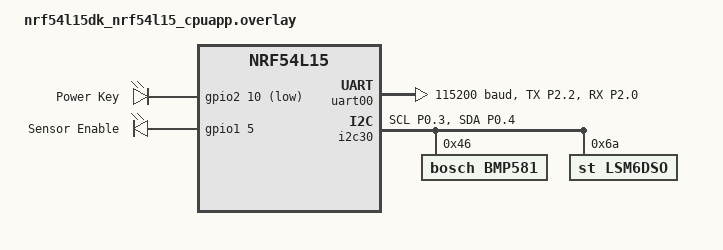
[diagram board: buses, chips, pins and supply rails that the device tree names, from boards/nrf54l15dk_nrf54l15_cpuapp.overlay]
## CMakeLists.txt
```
cmake_minimum_required(VERSION 3.20.0)
set(DTC_OVERLAY_FILE
  ${CMAKE_CURRENT_SOURCE_DIR}/boards/xiao_nrf54l15_nrf54l15_cpuapp.overlay
  CACHE STRING "Devicetree overlay file"
  FORCE
)
find_package(Zephyr REQUIRED HINTS $ENV{ZEPHYR_BASE})
project(bt_test)

target_sources(app PRIVATE src/main.c)
target_sources_ifdef(CONFIG_IMU app PRIVATE src/imu.c)
target_sources_ifdef(CONFIG_SENSOR app PRIVATE src/sensor.c)
```

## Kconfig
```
source "Kconfig.zephyr"

config IMU
    bool "enable my imu"
    default n

config BMP580
    bool "enable my bmp"
    default n
```

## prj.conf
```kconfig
CONFIG_BT=y
CONFIG_LOG=y
CONFIG_GPIO=y
CONFIG_BT_DEVICE_NAME="Test beacon"

CONFIG_I2C=y
CONFIG_SENSOR=y
CONFIG_BMP580=n
CONFIG_IMU=n
```

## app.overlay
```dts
#include <zephyr/dt-bindings/sensor/bmp581.h>
#include <zephyr/dt-bindings/sensor/lsm6dso.h>

/ {
	aliases {
		pressure_sensor = &bmp581;
		imu_sensor = &lsm6dso;
	};
};

&i2c1 {
	status = "okay";

	bmp581: bmp581@46 {
		compatible = "bosch,bmp581";
		reg = <0x46>;
		odr = <BMP581_DT_ODR_50_HZ>;
		press-osr = <BMP581_DT_OVERSAMPLING_8X>;
		temp-osr = <BMP581_DT_OVERSAMPLING_2X>;
		press-iir = <BMP581_DT_IIR_FILTER_COEFF_7>;
		temp-iir = <BMP581_DT_IIR_FILTER_COEFF_3>;
		power-mode = <BMP581_DT_MODE_NORMAL>;
		status = "okay";
	};

	lsm6dso: lsm6dso@6a {
		compatible = "st,lsm6dso";
		reg = <0x6a>;
		accel-range = <LSM6DSO_DT_FS_4G>;
		accel-odr = <LSM6DSO_DT_ODR_104Hz>;
		gyro-range = <LSM6DSO_DT_FS_2000DPS>;
		gyro-odr = <LSM6DSO_DT_ODR_104Hz>;
		status = "okay";
	};
};
```

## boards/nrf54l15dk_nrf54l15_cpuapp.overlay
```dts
// To get started, press Ctrl+Space to bring up the completion menu and view the available nodes.

// You can also use the buttons in the sidebar to perform actions on nodes.
// Actions currently available include:

// * Enabling / disabling the node
// * Adding the bus to a bus
// * Removing the node
// * Connecting ADC channels

// For more help, browse the DeviceTree documentation at https://docs.zephyrproject.org/latest/guides/dts/index.html
// You can also visit the nRF DeviceTree extension documentation at https://docs.nordicsemi.com/bundle/nrf-connect-vscode/page/guides/ncs_configure_app.html#devicetree-support-in-the-extension
&spi00 {
	status = "disabled";
};

&mx25r64 {
	status = "disabled";
};

/ {
	chosen {
		nordic,nus-uart = &uart00;
		zephyr,console = &uart00;
	};
};

&uart00 {
	status = "okay";
	current-speed = <115200>;
	clocks = <&hfpll>;
	compatible = "nordic,nrf-uarte";
	pinctrl-0 = <&uart00_default>;
	pinctrl-1 = <&uart00_sleep>;
	pinctrl-names = "default", "sleep";
};

&pinctrl {
	uart00_default: uart00_default {
		group1 {
			psels = <NRF_PSEL(UART_TX, 2, 2)>;
		};

		group2 {
			psels = <NRF_PSEL(UART_RX, 2, 0)>;
			bias-pull-up;
		};
	};

	uart00_sleep: uart00_sleep {
		group1 {
			psels = <NRF_PSEL(UART_TX, 2, 2)>;
		};
	};
};


/ {
    /* 1. 自定义输出引脚节点 */
    pwr_key_out: pwr-key-out {
        compatible = "gpio-leds";
        pwr_key: pwr_key {
            gpios = <&gpio2 10 GPIO_ACTIVE_LOW>;
            label = "Power Key";
        };
        sensor_enable: sensor_enable {
            gpios = <&gpio1 5 GPIO_ACTIVE_HIGH>;
            label = "Sensor Enable";
        };
    };

    /* 2. 别名 */
    aliases {
        pwr-key-gpio = &pwr_key;
        sensor-enable-gpio = &sensor_enable;
		bmp581 = &bmp581;
		lsm6dso = &lsm6dso;
    };
};

/* 3. 外设配置 */
&uart21 {
    status = "disabled";
};

/* 4. I2C30 保持启用，并将其引脚重映射到 P0.03 和 P0.04 */
&i2c30 {
    status = "okay";
    pinctrl-0 = <&i2c30_default>;
    pinctrl-1 = <&i2c30_sleep>;
    pinctrl-names = "default", "sleep";

    bmp581: bmp581@46 {
        compatible = "bosch,bmp581";
        reg = <0x46>;
        status = "okay";
    };

    lsm6dso: lsm6dso@6a {
        compatible = "st,lsm6dso";
        reg = <0x6a>;
        status = "okay";
    };
};

&pinctrl {
    i2c30_default: i2c30_default {
        group1 {
            psels = <NRF_PSEL(TWIM_SCL, 0, 3)>,
                    <NRF_PSEL(TWIM_SDA, 0, 4)>;
        };
    };

    i2c30_sleep: i2c30_sleep {
        group1 {
            psels = <NRF_PSEL(TWIM_SCL, 0, 3)>,
                    <NRF_PSEL(TWIM_SDA, 0, 4)>;
            low-power-enable;
        };
    };
};
```

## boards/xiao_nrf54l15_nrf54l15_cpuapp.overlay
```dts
#include <zephyr/dt-bindings/input/input-event-codes.h>

/ {
    /* 1. 自定义输出引脚节点 */
    gpio_enable: gpio-enable {
        compatible = "gpio-leds";

        sensorable: sensor_enable {
            gpios = <&gpio1 5 GPIO_ACTIVE_HIGH>;
            label = "Sensor Enable";
        };
    };
    keys: keys {
		compatible = "gpio-keys";

		pwrkey: pwrkey {
			gpios = <&gpio2 10 (GPIO_PULL_UP | GPIO_ACTIVE_LOW)>;
			zephyr,code = <INPUT_KEY_ENTER>;
            label = "PWR KEY";
		};
	};

    /* 2. 别名 */
    aliases {
        pwrkey = &pwrkey;
        sensorsw = &sensorable;
		bmp581 = &bmp581;
		lsm6dso = &lsm6dso;
    };
};

/* 3. 外设配置 */
&uart21 {
    status = "disabled";
};

&uart30 {
    status = "disabled";
};

&spi30 {
    status = "disabled";
};

/* 4. I2C30 保持启用，并将其引脚重映射到 P0.03 和 P0.04 */
&i2c30 {
    status = "okay";
    pinctrl-0 = <&i2c30_default>;
    pinctrl-1 = <&i2c30_sleep>;
    pinctrl-names = "default", "sleep";

    bmp581: bmp581@46 {
        compatible = "bosch,bmp581";
        reg = <0x46>;
        status = "okay";
    };

    lsm6dso: lsm6dso@6a {
        compatible = "st,lsm6dso";
        reg = <0x6a>;
        status = "okay";
    };
};

&pinctrl {
    i2c30_default: i2c30_default {
        group1 {
            psels = <NRF_PSEL(TWIM_SCL, 0, 3)>,
                    <NRF_PSEL(TWIM_SDA, 0, 4)>;
        };
    };

    i2c30_sleep: i2c30_sleep {
        group1 {
            psels = <NRF_PSEL(TWIM_SCL, 0, 3)>,
                    <NRF_PSEL(TWIM_SDA, 0, 4)>;
            low-power-enable;
        };
    };
};
```

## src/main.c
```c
/* main.c - Application main entry point */

/*
 * Copyright (c) 2015-2016 Intel Corporation
 *
 * SPDX-License-Identifier: Apache-2.0
 */

#include <zephyr/types.h>
#include <stddef.h>
#include <zephyr/sys/printk.h>
#include <zephyr/sys/util.h>
#include <zephyr/kernel.h>

#include <zephyr/drivers/gpio.h>

#include <zephyr/bluetooth/bluetooth.h>
#include <zephyr/bluetooth/hci.h>

#include <stdio.h>

// 看视频跟做
#include <zephyr/drivers/i2c.h>

#ifdef CONFIG_BMP580
#include "sensor.h"
#endif
#ifdef CONFIG_IMU
#include "imu.h"
#endif

#define DEVICE_NAME CONFIG_BT_DEVICE_NAME
#define DEVICE_NAME_LEN (sizeof(DEVICE_NAME) - 1)

static const struct bt_le_adv_param *adv_param = BT_LE_ADV_PARAM(
	(BT_LE_ADV_OPT_SCANNABLE | BT_LE_ADV_OPT_USE_IDENTITY),
	80,
	82,
	NULL);

typedef struct adv_mfg_data {
	uint16_t company_code;
	uint8_t filter_1;
	uint8_t filter_2;
	uint8_t filter_3;
	uint8_t count;
	float acc_x;
	float pressure;
} adv_mfg_data_type;

static adv_mfg_data_type adv_mfg_data = {
	.company_code = 0xFFFF,
	.filter_1 = 0xDF,
	.filter_2 = 0xDF,
	.filter_3 = 0xDF,
	.count = 0,
	.acc_x = 9.8f,
	.pressure = 1.01f,
};

static const struct bt_data ad[] = {
	BT_DATA_BYTES(BT_DATA_FLAGS, BT_LE_AD_NO_BREDR),
	BT_DATA(BT_DATA_MANUFACTURER_DATA,
		(unsigned char *)&adv_mfg_data,
		sizeof(adv_mfg_data)),
};

static const struct bt_data sd[] = {
	BT_DATA(BT_DATA_NAME_COMPLETE, DEVICE_NAME, DEVICE_NAME_LEN),
};

#define SLEEP_TIME_MS 1000
#define BUTTON_DEBOUNCE_MS 30

// LED引脚
#define LED0_NODE DT_ALIAS(led0)
static const struct gpio_dt_spec led = GPIO_DT_SPEC_GET(LED0_NODE, gpios);

// 使能引脚
#define SENSOR_NODE DT_ALIAS(sensorsw)
static const struct gpio_dt_spec sensor_enable = GPIO_DT_SPEC_GET(SENSOR_NODE, gpios);

// pwr-key
#define PWR_NODE DT_ALIAS(pwrkey)
static const struct gpio_dt_spec pwr_key = GPIO_DT_SPEC_GET(PWR_NODE, gpios);

// 板载button
#define SW0_NODE	DT_ALIAS(sw0) 
static const struct gpio_dt_spec button = GPIO_DT_SPEC_GET(SW0_NODE, gpios);
static struct gpio_callback button_cb_data;
// static struct gpio_callback key_cb_data;
static uint32_t last_button_press_ms;

// 把中断执行的任务放在另一个队列中执行，不占用中断
void button_work(struct k_work *work)
{
	gpio_pin_toggle_dt(&led);
};
K_WORK_DEFINE(button_wk,button_work);
// 按键中断回调函数
void button_pressed(const struct device *dev, struct gpio_callback *cb, uint32_t pins)
{
	uint32_t now = k_uptime_get_32();

	ARG_UNUSED(dev);
	ARG_UNUSED(cb);
	ARG_UNUSED(pins);

	if ((now - last_button_press_ms) < BUTTON_DEBOUNCE_MS) {
		return;
	}

	last_button_press_ms = now;
	k_work_submit(&button_wk);
}

static int update_adv_payload(uint8_t count, float acc_x, float pressure)
{
	adv_mfg_data.count = count;
	adv_mfg_data.acc_x = acc_x;
	adv_mfg_data.pressure = pressure;

	return bt_le_adv_update_data(ad, ARRAY_SIZE(ad), sd, ARRAY_SIZE(sd));
}

static void bt_ready(int err)
{
	bt_addr_le_t addr;

	err = bt_addr_le_from_str("FF:EE:DD:CC:BB:AA", "random", &addr);
	if (err) {
		printk("Invalid BT address (err %d)\n", err);
	}

	printk("Bluetooth initialized\n");

	err = bt_le_adv_start(adv_param, ad, ARRAY_SIZE(ad), sd, ARRAY_SIZE(sd));
	if (err) {
		printk("Advertising failed to start (err %d)\n", err);
	}
}

int main(void)
{
	int err;
	uint8_t count = 0;
	float acc_x = 9.8f;
	float pressure = 1.01f;

	// 初始化led
	gpio_is_ready_dt(&led);
	gpio_pin_configure_dt(&led, GPIO_OUTPUT_ACTIVE);
	// 初始化使能引脚
	gpio_is_ready_dt(&sensor_enable);
	gpio_pin_configure_dt(&sensor_enable, GPIO_OUTPUT_ACTIVE);
	// 初始化pwr-key
	// device_is_ready(pwr_key.port);
	// gpio_pin_configure_dt(&pwr_key, GPIO_INPUT);
	// gpio_pin_interrupt_configure_dt(&pwr_key, GPIO_INT_EDGE_TO_ACTIVE);		//设置key的中断模式->按下激活时触发
	// gpio_init_callback(&key_cb_data, button_pressed, BIT(pwr_key.pin)); 	
	// gpio_add_callback(pwr_key.port, &key_cb_data);
	// 初始化板载button
	device_is_ready(button.port);
	gpio_pin_configure_dt(&button, GPIO_INPUT | GPIO_PULL_UP);
	gpio_pin_interrupt_configure_dt(&button, GPIO_INT_EDGE_TO_ACTIVE);		//设置button的中断模式->按下激活时触发
	gpio_init_callback(&button_cb_data, button_pressed, BIT(button.pin)); 	
	gpio_add_callback(button.port, &button_cb_data);

	gpio_pin_set_dt(&led, 1);

	#if defined(CONFIG_BMP580) && defined(CONFIG_IMU)
	struct imu_sample imu;
	struct sensor_sample_bundle sensors;
	int ret;
	int imu_ret;
	int64_t next_sensor_log = 0;
	int64_t next_imu_log = 0;
	ret = sensor_init_all();
	if (ret != 0) {
		printk("sensor_init_all failed: %d\n", ret);
		return 0;
	}

	ret = imu_init();
	if (ret != 0) {
		printk("imu_init failed: %d\n", ret);
		return 0;
	}
	#endif

	printk("fusion_combo sample start\n");

	err = bt_enable(bt_ready);
	if (err) {
		printk("Bluetooth init failed (err %d)\n", err);
	}

	while (1) {
		// gpio_pin_toggle_dt(&led);

		// 更新广播数据
		count++;
		acc_x += 1.0f;
		pressure += 1.0f;
		err = update_adv_payload(count, acc_x, pressure);
		if (err) {
			printk("Advertising data update failed (err %d)\n", err);
		}

		#ifdef CONFIG_BMP580
		imu_ret = imu_fetch(&imu);
		if (k_uptime_get() >= next_sensor_log) {
			ret = sensor_fetch_all(&sensors);
			if (ret == 0) {
				if (sensors.pressure_valid || sensors.temperature_valid) {
					printk("baro: pressure=%.3f kPa temp=%.3f C altitude=%.3f m\n",
						sensors.pressure_kpa,
						sensors.temperature_c,
						sensors.altitude_m);
				}
			}

			next_sensor_log = k_uptime_get() + 500;
		}
		#endif

		#ifdef CONFIG_IMU
		if (imu_ret == 0 && k_uptime_get() >= next_imu_log) {
			printk("imu: acc=(%.3f %.3f %.3f) gyro=(%.3f %.3f %.3f)\n",
					imu.accel_mps2[0], imu.accel_mps2[1], imu.accel_mps2[2],
					imu.gyro_rps[0], imu.gyro_rps[1], imu.gyro_rps[2]);
			next_imu_log = k_uptime_get() + 100;
		}
		#endif

		k_msleep(SLEEP_TIME_MS);
	}
}
```

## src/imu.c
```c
#include "imu.h"

#include <errno.h>
#include <string.h>

#include <zephyr/device.h>
#include <zephyr/devicetree.h>
#include <zephyr/drivers/sensor.h>
#include <zephyr/sys/printk.h>

#if !DT_HAS_ALIAS(bmp581)
#error "Missing devicetree alias: lsm6dso"
#endif

// 看视频跟做
#include <zephyr/drivers/i2c.h>

static const struct device *const imu_dev = DEVICE_DT_GET(DT_ALIAS(lsm6dso));

static int set_sampling_frequency(const struct device *dev)
{
	struct sensor_value odr = {
		.val1 = 104,
		.val2 = 0,
	};
	int ret;

	ret = sensor_attr_set(dev, SENSOR_CHAN_ACCEL_XYZ, SENSOR_ATTR_SAMPLING_FREQUENCY, &odr);
	if (ret != 0) {
		return ret;
	}

	return sensor_attr_set(dev, SENSOR_CHAN_GYRO_XYZ, SENSOR_ATTR_SAMPLING_FREQUENCY, &odr);
}

int imu_init(void)
{
	int ret;

	if (!device_is_ready(imu_dev)) {
		printk("imu sensor not ready: %s\n", imu_dev->name);
		return -ENODEV;
	}

	ret = set_sampling_frequency(imu_dev);
	if (ret != 0) {
		printk("failed to set lsm6dso odr: %d\n", ret);
		return ret;
	}

	return 0;
}

int imu_fetch(struct imu_sample *sample)
{
	struct sensor_value accel[3];
	struct sensor_value gyro[3];
	int ret;

	if (sample == NULL) {
		return -EINVAL;
	}

	ret = sensor_sample_fetch(imu_dev);
	if (ret != 0) {
		return ret;
	}

	ret = sensor_channel_get(imu_dev, SENSOR_CHAN_ACCEL_XYZ, accel);
	if (ret != 0) {
		return ret;
	}

	ret = sensor_channel_get(imu_dev, SENSOR_CHAN_GYRO_XYZ, gyro);
	if (ret != 0) {
		return ret;
	}

	memset(sample, 0, sizeof(*sample));
	sample->accel_mps2[0] = (float)sensor_value_to_double(&accel[0]);
	sample->accel_mps2[1] = (float)sensor_value_to_double(&accel[1]);
	sample->accel_mps2[2] = (float)sensor_value_to_double(&accel[2]);
	sample->gyro_rps[0] = (float)sensor_value_to_double(&gyro[0]);
	sample->gyro_rps[1] = (float)sensor_value_to_double(&gyro[1]);
	sample->gyro_rps[2] = (float)sensor_value_to_double(&gyro[2]);
	sample->timestamp_s = 0.0;

	return 0;
}
```

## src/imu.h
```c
#ifndef FUSION_COMBO_IMU_H_
#define FUSION_COMBO_IMU_H_

#include <stdint.h>

struct imu_sample {
	double timestamp_s;
	float accel_mps2[3];
	float gyro_rps[3];
};

int imu_init(void);
int imu_fetch(struct imu_sample *sample);

#endif
```

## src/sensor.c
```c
#include "sensor.h"

#include <errno.h>
#include <math.h>

#include <zephyr/device.h>
#include <zephyr/devicetree.h>
#include <zephyr/drivers/sensor.h>
#include <zephyr/sys/printk.h>

// 看视频跟做
#include <zephyr/drivers/i2c.h>

#define SEA_LEVEL_PRESSURE_KPA 101.325

#if !DT_HAS_ALIAS(bmp581)
#error "Missing devicetree alias: bmp581"
#endif

static const struct device *const pressure_dev = DEVICE_DT_GET(DT_ALIAS(bmp581));

static double pressure_to_altitude_m(double pressure_kpa)
{
	return 44330.0 * (1.0 - pow(pressure_kpa / SEA_LEVEL_PRESSURE_KPA, 0.1903));
}

int sensor_init_all(void)
{
	if (!device_is_ready(pressure_dev)) {
		printk("pressure sensor not ready: %s\n", pressure_dev->name);
		return -ENODEV;
	}

	return 0;
}

int sensor_fetch_all(struct sensor_sample_bundle *sample)
{
	struct sensor_value pressure;
	struct sensor_value temperature;
	int ret;

	if (sample == NULL) {
		return -EINVAL;
	}

	*sample = (struct sensor_sample_bundle){0};

	ret = sensor_sample_fetch_chan(pressure_dev, SENSOR_CHAN_ALL);
	if (ret == 0) {
		if (sensor_channel_get(pressure_dev, SENSOR_CHAN_PRESS, &pressure) == 0) {
			sample->pressure_kpa = sensor_value_to_double(&pressure);
			sample->altitude_m = pressure_to_altitude_m(sample->pressure_kpa);
			sample->pressure_valid = true;
		}

		if (sensor_channel_get(pressure_dev, SENSOR_CHAN_AMBIENT_TEMP, &temperature) == 0) {
			sample->temperature_c = sensor_value_to_double(&temperature);
			sample->temperature_valid = true;
		}
	}

	return 0;
}
```

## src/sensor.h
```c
#ifndef FUSION_COMBO_SENSOR_H_
#define FUSION_COMBO_SENSOR_H_

#include <stdbool.h>

struct sensor_sample_bundle {
	double pressure_kpa;
	double temperature_c;
	double altitude_m;
	bool pressure_valid;
	bool temperature_valid;
};

int sensor_init_all(void);
int sensor_fetch_all(struct sensor_sample_bundle *sample);

#endif
```
